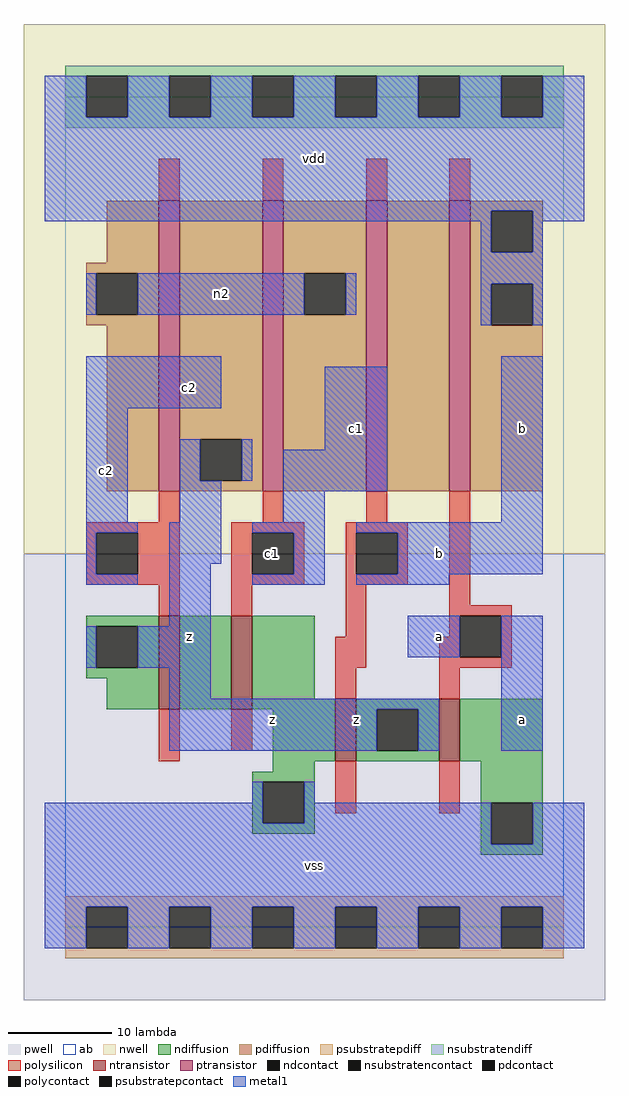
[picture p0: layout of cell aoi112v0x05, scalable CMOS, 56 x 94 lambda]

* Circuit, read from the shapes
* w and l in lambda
.subckt aoi112v0x05 a b c1 c2 n2 vdd vss z
M1 n1 c2 z vss nfet w=9 l=2
M2 vss c1 n1 vss nfet w=9 l=2
M3 z b vss vss nfet w=6 l=2
M4 vss a z vss nfet w=6 l=2
M5 z c2 n2 vdd pfet w=28 l=2
M6 n2 c1 z vdd pfet w=28 l=2
M7 n3 b n2 vdd pfet w=28 l=2
M8 vdd a n3 vdd pfet w=28 l=2
.ends

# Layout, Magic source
magic
tech scmos
<< ab >>
rect 0 0 48 80
<< pwell >>
rect -4 -7 52 36
<< nwell >>
rect -4 36 52 87
<< polysilicon >>
rect 9 70 11 74
rect 19 70 21 74
rect 29 70 31 74
rect 37 70 39 74
rect 9 39 11 42
rect 19 39 21 42
rect 29 39 31 42
rect 2 38 11 39
rect 2 34 3 38
rect 7 34 11 38
rect 2 33 11 34
rect 9 30 11 33
rect 16 38 23 39
rect 16 34 18 38
rect 22 34 23 38
rect 16 33 23 34
rect 27 38 33 39
rect 27 34 28 38
rect 32 34 33 38
rect 27 33 33 34
rect 16 30 18 33
rect 27 28 29 33
rect 37 31 39 42
rect 37 30 43 31
rect 37 28 38 30
rect 26 25 29 28
rect 36 26 38 28
rect 42 26 43 30
rect 36 25 43 26
rect 26 22 28 25
rect 36 22 38 25
rect 9 16 11 21
rect 16 17 18 21
rect 26 11 28 16
rect 36 11 38 16
<< ndiffusion >>
rect 2 29 9 30
rect 2 25 3 29
rect 7 25 9 29
rect 2 24 9 25
rect 4 21 9 24
rect 11 21 16 30
rect 18 22 24 30
rect 18 21 26 22
rect 20 16 26 21
rect 28 21 36 22
rect 28 17 30 21
rect 34 17 36 21
rect 28 16 36 17
rect 38 16 46 22
rect 20 15 24 16
rect 18 14 24 15
rect 18 10 19 14
rect 23 10 24 14
rect 40 12 46 16
rect 18 9 24 10
rect 40 8 41 12
rect 45 8 46 12
rect 40 7 46 8
<< pdiffusion >>
rect 4 64 9 70
rect 2 63 9 64
rect 2 59 3 63
rect 7 59 9 63
rect 2 58 9 59
rect 4 42 9 58
rect 11 47 19 70
rect 11 43 13 47
rect 17 43 19 47
rect 11 42 19 43
rect 21 63 29 70
rect 21 59 23 63
rect 27 59 29 63
rect 21 42 29 59
rect 31 42 37 70
rect 39 69 46 70
rect 39 65 41 69
rect 45 65 46 69
rect 39 62 46 65
rect 39 58 41 62
rect 45 58 46 62
rect 39 42 46 58
<< metal1 >>
rect -2 78 2 82
rect 6 78 10 82
rect 14 78 18 82
rect 22 78 26 82
rect 30 78 34 82
rect 38 78 42 82
rect 46 78 50 82
rect -2 69 50 78
rect -2 68 41 69
rect 40 65 41 68
rect 45 68 50 69
rect 45 65 46 68
rect 2 59 3 63
rect 7 59 23 63
rect 27 59 28 63
rect 40 62 46 65
rect 40 58 41 62
rect 45 58 46 62
rect 2 50 15 55
rect 2 39 6 50
rect 11 43 13 47
rect 17 43 18 47
rect 25 46 31 54
rect 11 39 15 43
rect 21 42 31 46
rect 21 39 25 42
rect 42 39 46 55
rect 2 38 7 39
rect 2 34 3 38
rect 2 33 7 34
rect 10 35 15 39
rect 18 38 25 39
rect 10 29 14 35
rect 22 34 25 38
rect 18 33 25 34
rect 28 38 46 39
rect 32 34 46 38
rect 28 33 37 34
rect 2 25 3 29
rect 7 25 14 29
rect 33 26 38 30
rect 10 22 14 25
rect 10 21 36 22
rect 10 17 30 21
rect 34 17 36 21
rect 42 17 46 30
rect 18 12 19 14
rect -2 10 19 12
rect 23 12 24 14
rect 23 10 41 12
rect -2 8 41 10
rect 45 8 50 12
rect -2 2 50 8
rect -2 -2 2 2
rect 6 -2 10 2
rect 14 -2 18 2
rect 22 -2 26 2
rect 30 -2 34 2
rect 38 -2 42 2
rect 46 -2 50 2
<< ntransistor >>
rect 9 21 11 30
rect 16 21 18 30
rect 26 16 28 22
rect 36 16 38 22
<< ptransistor >>
rect 9 42 11 70
rect 19 42 21 70
rect 29 42 31 70
rect 37 42 39 70
<< polycontact >>
rect 3 34 7 38
rect 18 34 22 38
rect 28 34 32 38
rect 38 26 42 30
<< ndcontact >>
rect 3 25 7 29
rect 30 17 34 21
rect 19 10 23 14
rect 41 8 45 12
<< pdcontact >>
rect 3 59 7 63
rect 13 43 17 47
rect 23 59 27 63
rect 41 65 45 69
rect 41 58 45 62
<< psubstratepcontact >>
rect 2 -2 6 2
rect 10 -2 14 2
rect 18 -2 22 2
rect 26 -2 30 2
rect 34 -2 38 2
rect 42 -2 46 2
<< nsubstratencontact >>
rect 2 78 6 82
rect 10 78 14 82
rect 18 78 22 82
rect 26 78 30 82
rect 34 78 38 82
rect 42 78 46 82
<< psubstratepdiff >>
rect 0 2 48 3
rect 0 -2 2 2
rect 6 -2 10 2
rect 14 -2 18 2
rect 22 -2 26 2
rect 30 -2 34 2
rect 38 -2 42 2
rect 46 -2 48 2
rect 0 -3 48 -2
<< nsubstratendiff >>
rect 0 82 48 83
rect 0 78 2 82
rect 6 78 10 82
rect 14 78 18 82
rect 22 78 26 82
rect 30 78 34 82
rect 38 78 42 82
rect 46 78 48 82
rect 0 77 48 78
<< labels >>
rlabel metal1 4 44 4 44 6 c2
rlabel metal1 12 28 12 28 6 z
rlabel metal1 12 52 12 52 6 c2
rlabel metal1 24 6 24 6 6 vss
rlabel metal1 20 20 20 20 6 z
rlabel polycontact 20 36 20 36 6 c1
rlabel metal1 15 61 15 61 6 n2
rlabel metal1 24 74 24 74 6 vdd
rlabel metal1 28 20 28 20 6 z
rlabel metal1 36 28 36 28 6 a
rlabel metal1 36 36 36 36 6 b
rlabel metal1 28 48 28 48 6 c1
rlabel metal1 44 20 44 20 6 a
rlabel metal1 44 48 44 48 6 b
<< end >>
